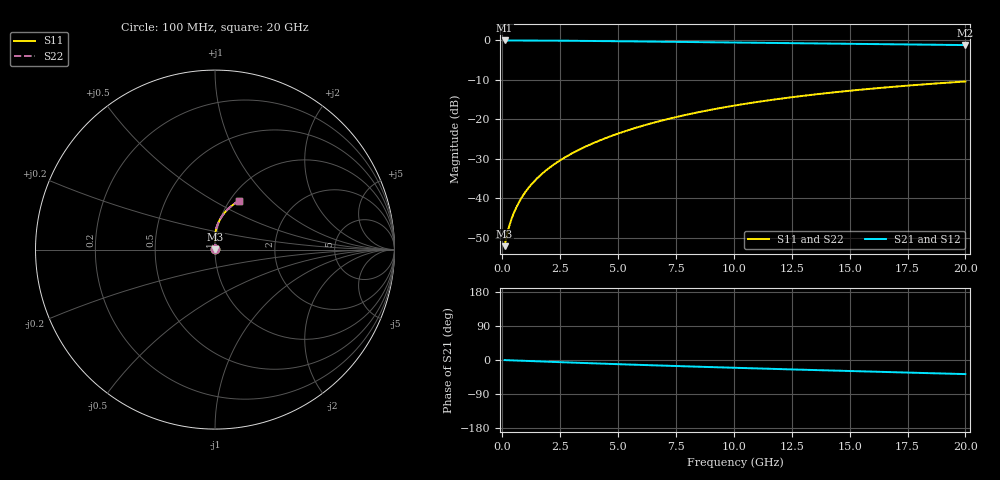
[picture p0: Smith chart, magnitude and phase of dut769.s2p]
! Touchstone file exported from HFSS 2024.1.0
!  File:  C:/UserFiles/LocalFiles/RDL_TSV_Batchsim/temp_RDL_top_769_1779852515.aedt
!  Generated:  11:30:46 AM May 27, 2026
!  Design:  RDL_top
!  Project:  temp_RDL_top_769_1779852515
!  Setup:  Setup1
!  Solution:  Sweep
! Variables:
!  dtsv = 10.80580581um
!  hbump = 3um
!  htsv = 69.49um
!  ldown = 100um
!  lrdl = 541.61um
!  p = 40
!  p1 = 52.84um
!  rhole = 1um
!  t = 450um
!  tdown = 3.915915916um
!  trdl = 3.81um
!  wdown = 15.38538539um
!  wrdl = 27.78um
# GHz S MA R 50.000000
! Terminal data exported
! Port[1] = Box2_T1
! Port[2] = Box2_T2
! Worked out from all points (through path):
!   200 points, 100 MHz to 20 GHz, reference 50 ohm
!   highest |S21| = -0.02 dB at 100 MHz (marker M1); lowest = -1.2 dB at 20 GHz (marker M2)
!   group delay of S21, straight-line fit = 5.09 ps
!   lowest |S11| = -52.1 dB at 100 MHz (marker M3), VSWR 1.00, Z = 50.2 + j0.138 ohm
!   |S11| at or under -10 dB: start of sweep to end of sweep
!   |S22| runs from -52.1 to -10.4 dB; largest |S21 - S12| = 2.9e-15
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0.1  0.002473 33.8  0.9979 -0.2  0.9979 -0.2  0.002473 33.8
! Gamma 0 0 0 0
! Port Impedance 50 0 50 0
0.2  0.003435 50.1  0.9977 -0.5  0.9977 -0.5  0.003435 50.1
0.3  0.004455 58.6  0.9975 -0.7  0.9975 -0.7  0.004455 58.6
0.4  0.005484 64.2  0.9974 -0.9  0.9974 -0.9  0.005484 64.2
0.5  0.006529 68.3  0.9972 -1.2  0.9972 -1.2  0.006529 68.3
0.6  0.007594 71.4  0.997 -1.4  0.997 -1.4  0.007594 71.4
0.8  0.009778 76.0  0.9967 -1.9  0.9967 -1.9  0.009778 76.0
1.1  0.01316 80.3  0.996 -2.6  0.996 -2.6  0.01316 80.3
1.3  0.01548 82.3  0.9955 -3.0  0.9955 -3.0  0.01548 82.3
1.6  0.01903 84.5  0.9946 -3.7  0.9946 -3.7  0.01903 84.5
2.1  0.02516 87.0  0.9927 -4.8  0.9927 -4.8  0.02516 87.0
2.7  0.03287 88.8  0.99 -6.2  0.99 -6.2  0.03287 88.8
3.5  0.04377 90.1  0.9855 -7.9  0.9855 -7.9  0.04377 90.1
4.2  0.05388 90.5  0.9811 -9.4  0.9811 -9.4  0.05388 90.5
5  0.06601 90.4  0.9757 -11.0  0.9757 -11.0  0.06601 90.4
6.8  0.095 88.7  0.9627 -14.6  0.9627 -14.6  0.09501 88.7
8.4  0.1219 86.1  0.951 -17.6  0.951 -17.6  0.1219 86.1
10.1  0.1507 82.9  0.9387 -20.7  0.9387 -20.7  0.1507 82.9
11.7  0.1774 79.7  0.9275 -23.5  0.9275 -23.5  0.1774 79.8
13.4  0.2051 76.3  0.9159 -26.4  0.9159 -26.4  0.2051 76.4
16.7  0.2557 69.9  0.8937 -31.9  0.8937 -31.9  0.2557 69.9
20  0.3016 63.8  0.8719 -37.2  0.8719 -37.2  0.3017 63.8
